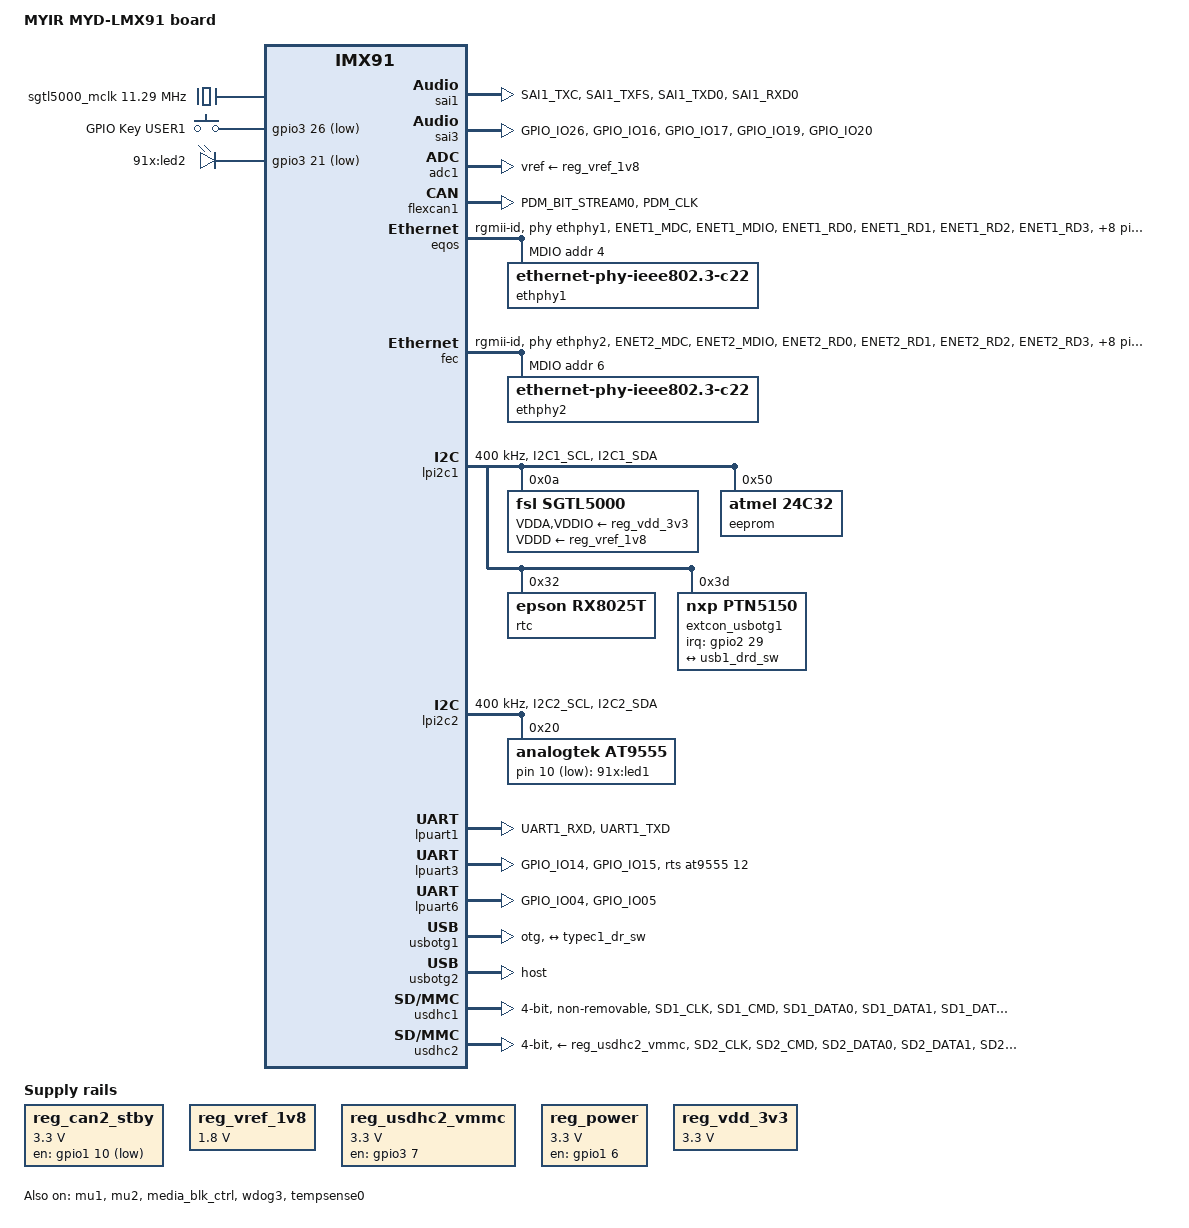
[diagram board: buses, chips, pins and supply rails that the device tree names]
// SPDX-License-Identifier: (GPL-2.0+ OR MIT)
/*
 * Copyright 2024 NXP
 */

/dts-v1/;

#include <dt-bindings/usb/pd.h>
#include "mys-imx91-11x11.dtsi"

&ele_fw2 {
	memory-region = <&ele_reserved>;
};

/ {
	model = "MYIR MYD-LMX91 board";
	compatible = "fsl,imx91-11x11-evk", "fsl,imx91";

	chosen {
		stdout-path = &lpuart1;
	};

	reserved-memory {
		#address-cells = <2>;
		#size-cells = <2>;
		ranges;

		linux,cma {
			compatible = "shared-dma-pool";
			reusable;
			alloc-ranges = <0 0x80000000 0 0x20000000>;
			size = <0 0x2000000>;
			linux,cma-default;
		};

		ele_reserved: ele-reserved@84120000 {
			compatible = "shared-dma-pool";
			reg = <0 0x84120000 0 0x100000>;
			no-map;
		};
	};

	reg_can2_stby: regulator-can2-stby {
		compatible = "regulator-fixed";
		regulator-name = "can2-stby";
		regulator-min-microvolt = <3300000>;
		regulator-max-microvolt = <3300000>;
		gpio = <&gpio1 10 GPIO_ACTIVE_LOW>;
		enable-active-low;
	};

	reg_vref_1v8: regulator-adc-vref {
		compatible = "regulator-fixed";
		regulator-name = "vref_1v8";
		regulator-min-microvolt = <1800000>;
		regulator-max-microvolt = <1800000>;
	};

	reg_usdhc2_vmmc: regulator-usdhc2 {
		compatible = "regulator-fixed";
		pinctrl-names = "default";
		pinctrl-0 = <&pinctrl_reg_usdhc2_vmmc>;
		regulator-name = "VSD_3V3";
		regulator-min-microvolt = <3300000>;
		regulator-max-microvolt = <3300000>;
		gpio = <&gpio3 7 GPIO_ACTIVE_HIGH>;
		off-on-delay-us = <12000>;
		enable-active-high;
	};

	reg_power: regulator-power{
		compatible = "regulator-fixed";
		pinctrl-names = "default";
		pinctrl-0 = <&pinctrl_power>;
		regulator-name = "UART2_RXD_3V3";
		regulator-min-microvolt = <3300000>;
		regulator-max-microvolt = <3300000>;
		gpio = <&gpio1 6 GPIO_ACTIVE_HIGH>;
		off-on-delay-us = <12000>;
		enable-active-high;
		regulator-boot-on;
    	regulator-always-on;
	};

	reg_vdd_3v3: regulator-vdd {
		compatible = "regulator-fixed";
		regulator-name = "VDD_3V3";
		regulator-min-microvolt = <3300000>;
		regulator-max-microvolt = <3300000>;
		startup-delay-us = <4000>;
		enable-active-high;
	};

	// reg_vrpi_3v3: regulator-vrpi-3v3 {
	// 	compatible = "regulator-fixed";
	// 	regulator-name = "VRPI_3V3";
	// 	gpio = <&pcal6524 2 GPIO_ACTIVE_HIGH>;
	// 	regulator-min-microvolt = <3300000>;
	// 	regulator-max-microvolt = <3300000>;
	// 	enable-active-high;
	// 	vin-supply = <&buck4>;
	// };

	// reg_vrpi_5v: regulator-vrpi-5v {
	// 	compatible = "regulator-fixed";
	// 	regulator-name = "VRPI_5V";
	// 	gpio = <&pcal6524 8 GPIO_ACTIVE_HIGH>;
	// 	regulator-min-microvolt = <5000000>;
	// 	regulator-max-microvolt = <5000000>;
	// 	enable-active-high;
	// };

	sgtl5000_mclk: sgtl5000-mclk {
		compatible = "fixed-clock";
		#clock-cells = <0>;
		clock-frequency = <11289600>;
	};


	reg_vdd_3v3: regulator-vdd {
		compatible = "regulator-fixed";
		regulator-name = "VDD_3V3";
		regulator-min-microvolt = <3300000>;
		regulator-max-microvolt = <3300000>;
		startup-delay-us = <4000>;
		enable-active-high;
	};

	reg_vref_1v8: regulator-adc-vref {
		compatible = "regulator-fixed";
		regulator-name = "vref_1v8";
		regulator-min-microvolt = <1800000>;
		regulator-max-microvolt = <1800000>;
	};






	 gpio-keys {
                compatible = "gpio-keys";
                autorepeat;
                pinctrl-names = "default";
                pinctrl-0 = <&pinctrl_key>;

                user: user {
                        label = "GPIO Key USER1";
                        linux,code = <BTN_0>;
                        gpios = <&gpio3 26 GPIO_ACTIVE_LOW>;
                };

        };

	leds {
		compatible = "gpio-leds";

		led-user {
			label = "91x:led1";
			gpios = <&at9555 10 GPIO_ACTIVE_LOW>;
			max-brightness = <255>;
			linux,default-trigger = "heartbeat";
		};

		led-sys {
			label = "91x:led2";
			pinctrl-names = "default";
			pinctrl-1 = <&pinctrl_sysled>;
			gpios = <&gpio3 21 GPIO_ACTIVE_LOW>;
			linux,default-trigger = "heartbeat";
		};
	};


	// sound-wm8962 {
	// 	compatible = "fsl,imx-audio-wm8962";
	// 	model = "wm8962-audio";
	// 	audio-cpu = <&sai3>;
	// 	audio-codec = <&codec>;
	// 	hp-det-gpio = <&pcal6524 4 GPIO_ACTIVE_HIGH>;
	// 	audio-routing =
	// 		"Headphone Jack", "HPOUTL",
	// 		"Headphone Jack", "HPOUTR",
	// 		"Ext Spk", "SPKOUTL",
	// 		"Ext Spk", "SPKOUTR",
	// 		"AMIC", "MICBIAS",
	// 		"IN3R", "AMIC",
	// 		"IN1R", "AMIC";
	// };

	// sound-micfil {
	// 	compatible = "fsl,imx-audio-card";
	// 	model = "micfil-audio";
	// 	pri-dai-link {
	// 		link-name = "micfil hifi";
	// 		format = "i2s";
	// 		cpu {
	// 			sound-dai = <&micfil>;
	// 		};
	// 	};
	// };

	// bt_sco_codec: bt_sco_codec {
	// 	#sound-dai-cells = <1>;
	// 	compatible = "linux,bt-sco";
	// };

	// sound-bt-sco {
	// 	compatible = "simple-audio-card";
	// 	simple-audio-card,name = "bt-sco-audio";
	// 	simple-audio-card,format = "dsp_a";
	// 	simple-audio-card,bitclock-inversion;
	// 	simple-audio-card,frame-master = <&btcpu>;
	// 	simple-audio-card,bitclock-master = <&btcpu>;

	// 	btcpu: simple-audio-card,cpu {
	// 		sound-dai = <&sai1>;
	// 		dai-tdm-slot-num = <2>;
	// 		dai-tdm-slot-width = <16>;
	// 	};

	// 	simple-audio-card,codec {
	// 		sound-dai = <&bt_sco_codec 1>;
	// 	};
	// };

	// sound-xcvr {
	// 	compatible = "fsl,imx-audio-card";
	// 	model = "imx-audio-xcvr";
	// 	pri-dai-link {
	// 		link-name = "XCVR PCM";
	// 		cpu {
	// 			sound-dai = <&xcvr>;
	// 		};
	// 	};
	// };

	sound {
		compatible = "simple-audio-card";
		simple-audio-card,name = "SGTL5000-Card";
		simple-audio-card,format = "i2s";
		simple-audio-card,bitclock-master = <&codec_dai>;
		simple-audio-card,frame-master = <&codec_dai>;
		simple-audio-card,widgets = "Headphone", "Headphone Jack";
		simple-audio-card,routing = "Headphone Jack", "HP_OUT";

		cpu_dai: simple-audio-card,cpu {
			sound-dai = <&sai1>;
		};
			codec_dai: simple-audio-card,codec {
			sound-dai = <&sgtl5000>;
			clocks = <&sgtl5000_mclk>;

 			};
 	};
 	
};

&sai1 {
	#sound-dai-cells = <0>;
	pinctrl-names = "default", "sleep";
	pinctrl-0 = <&pinctrl_sai1>;
	pinctrl-1 = <&pinctrl_sai1_sleep>;
	assigned-clocks = <&clk IMX91_CLK_SAI1>;
	assigned-clock-parents = <&clk IMX91_CLK_AUDIO_PLL>;
	assigned-clock-rates = <12288000>;
	fsl,sai-mclk-direction-output;
	status = "okay";
};

&sai3 {
	pinctrl-names = "default", "sleep";
	pinctrl-0 = <&pinctrl_sai3>;
	pinctrl-1 = <&pinctrl_sai3_sleep>;
	assigned-clocks = <&clk IMX91_CLK_SAI3>;
	assigned-clock-parents = <&clk IMX91_CLK_AUDIO_PLL>;
	assigned-clock-rates = <12288000>;
	fsl,sai-mclk-direction-output;
	status = "okay";
};

&micfil {
	#sound-dai-cells = <0>;
	pinctrl-names = "default", "sleep";
	pinctrl-0 = <&pinctrl_pdm>;
	pinctrl-1 = <&pinctrl_pdm_sleep>;
	assigned-clocks = <&clk IMX91_CLK_PDM>;
	assigned-clock-parents = <&clk IMX91_CLK_AUDIO_PLL>;
	assigned-clock-rates = <49152000>;
	status = "disabled";
};

// &xcvr {
// 	#sound-dai-cells = <0>;
// 	pinctrl-names = "default", "sleep";
// 	pinctrl-0 = <&pinctrl_spdif>;
// 	pinctrl-1 = <&pinctrl_spdif_sleep>;
// 	clocks = <&clk IMX91_CLK_BUS_WAKEUP>,
// 		<&clk IMX91_CLK_SPDIF_GATE>,
// 		<&clk IMX91_CLK_DUMMY>,
// 		<&clk IMX91_CLK_AUD_XCVR_GATE>,
// 		<&clk IMX91_CLK_AUDIO_PLL>;
// 	clock-names = "ipg", "phy", "spba", "pll_ipg", "pll8k";
// 	assigned-clocks = <&clk IMX91_CLK_SPDIF>,
// 			 <&clk IMX91_CLK_AUDIO_XCVR>;
// 	assigned-clock-parents = <&clk IMX91_CLK_AUDIO_PLL>,
// 			 <&clk IMX91_CLK_SYS_PLL_PFD1_DIV2>;
// 	assigned-clock-rates = <12288000>, <200000000>;
// 	status = "okay";
// };

&adc1 {
	vref-supply = <&reg_vref_1v8>;
	status = "okay";
};

&flexcan1 {
	pinctrl-names = "default", "sleep";
	pinctrl-0 = <&pinctrl_flexcan1>;

	// xceiver-supply = <&reg_can2_stby>;
	status = "okay";
};

&mu1 {
	status = "okay";
};

&mu2 {
	status = "okay";
};




&eqos {
	pinctrl-names = "default";
	pinctrl-0 = <&pinctrl_eqos>;
	// pinctrl-1 = <&pinctrl_eqos_sleep>;
	phy-mode = "rgmii-id";
	phy-handle = <&ethphy1>;
	status = "okay";

	mdio {
		compatible = "snps,dwmac-mdio";
		#address-cells = <1>;
		#size-cells = <0>;
		clock-frequency = <5000000>;

		ethphy1: ethernet-phy@4 {
			compatible = "ethernet-phy-ieee802.3-c22";
			reg = <4>;
		
		};
	};
};


&fec {
	pinctrl-names = "default", "sleep";
	pinctrl-0 = <&pinctrl_fec>;
	// pinctrl-1 = <&pinctrl_fec_sleep>;
	phy-mode = "rgmii-id";
	phy-handle = <&ethphy2>;
	fsl,magic-packet;
	status = "okay";

	mdio {
		compatible = "snps,dwmac-mdio";
		#address-cells = <1>;
		#size-cells = <0>;
		clock-frequency = <5000000>;

		ethphy2: ethernet-phy@2 {
			compatible = "ethernet-phy-ieee802.3-c22";
			reg = <6>;
			eee-broken-1000t;
		};
	};
};

/*
 * When add, delete or change any target device setting in &lpi2c1,
 * please synchronize the changes to the &i3c1 bus in imx91-11x11-evk-i3c.dts.
 */
&lpi2c1 {
	#address-cells = <1>;
	#size-cells = <0>;
	clock-frequency = <400000>;
	pinctrl-names = "default", "sleep";
	pinctrl-0 = <&pinctrl_lpi2c1>;
	pinctrl-1 = <&pinctrl_lpi2c1>;
	status = "okay";

	sgtl5000: audio-codec@a {
		compatible = "fsl,sgtl5000";
		reg = <0xa>;
		#sound-dai-cells = <0>;
		clocks = <&sgtl5000_mclk>;
		VDDA-supply = <&reg_vdd_3v3>;
		VDDIO-supply = <&reg_vdd_3v3>;
		VDDD-supply = <&reg_vref_1v8>;
	};

	eeprom: 24c32@50 {
		compatible = "atmel,24c32";
		reg = <0x50>;
		pagesize = <32>;
	};
	
	rtc: rtc@32 {
		compatible = "epson,rx8025t";
		reg = <0x32>;
		tatus = "okay";
    };

		extcon_usbotg1: typec@3d {
                compatible = "nxp,ptn5150";
                reg = <0x3d>;
                interrupt-parent = <&gpio2>;
                interrupts = <29 IRQ_TYPE_LEVEL_LOW>;
                pinctrl-names = "default";
                pinctrl-0 = <&pinctrl_tyint>;
                status = "okay";

		port {
			typec1_dr_sw: endpoint {
				remote-endpoint = <&usb1_drd_sw>;
			};
		};

	


	typec1_con: connector {
			compatible = "usb-c-connector";
			label = "USB-C";
			power-role = "dual";
			data-role = "dual";
			try-power-role = "sink";
			source-pdos = <PDO_FIXED(5000, 3000, PDO_FIXED_USB_COMM)>;
			sink-pdos = <PDO_FIXED(5000, 3000, PDO_FIXED_USB_COMM)
				     PDO_VAR(5000, 20000, 3000)>;
			op-sink-microwatt = <15000000>;
			self-powered;
		};
    };

	// codec: wm8962@1a {
	// 	compatible = "wlf,wm8962";
	// 	reg = <0x1a>;
	// 	clocks = <&clk IMX91_CLK_SAI3_GATE>;
	// 	DCVDD-supply = <&reg_audio_pwr>;
	// 	DBVDD-supply = <&reg_audio_pwr>;
	// 	AVDD-supply = <&reg_audio_pwr>;
	// 	CPVDD-supply = <&reg_audio_pwr>;
	// 	MICVDD-supply = <&reg_audio_pwr>;
	// 	PLLVDD-supply = <&reg_audio_pwr>;
	// 	SPKVDD1-supply = <&reg_audio_pwr>;
	// 	SPKVDD2-supply = <&reg_audio_pwr>;
	// 	gpio-cfg = <
	// 		0x0000 /* 0:Default */
	// 		0x0000 /* 1:Default */
	// 		0x0000 /* 2:FN_DMICCLK */
	// 		0x0000 /* 3:Default */
	// 		0x0000 /* 4:FN_DMICCDAT */
	// 		0x0000 /* 5:Default */
	// 	>;
	// };

	// lsm6dsm@6a {
	// 	compatible = "st,lsm6dso";
	// 	reg = <0x6a>;
	// };
};

&lpi2c2 {
	#address-cells = <1>;
	#size-cells = <0>;
	clock-frequency = <400000>;
	pinctrl-names = "default", "sleep";
	pinctrl-0 = <&pinctrl_lpi2c2>;
	pinctrl-1 = <&pinctrl_lpi2c2>;
	status = "okay";

	at9555: at9555@20 {
		compatible = "analogtek,at9555";
		reg = <0x20>;
		#gpio-cells = <2>;
		gpio_base = <130>;
		interrupt-controller;
		#interrupt-cells = <2>;
		status = "okay";
	};

	

		

};



&lpuart1 { /* console */
	pinctrl-names = "default";
	pinctrl-0 = <&pinctrl_uart1>;
	status = "okay";
};

&lpuart3 { /* 485 */
	pinctrl-names = "default";
	pinctrl-0 = <&pinctrl_uart3>;
    rts-gpios = <&at9555 12 GPIO_ACTIVE_HIGH>;
	rs485-rx-during-tx;
	linux,rs485-enabled-at-boot-time;
	status = "okay";
};

&lpuart6 { /* 232 */
	pinctrl-names = "default";
	pinctrl-0 = <&pinctrl_uart6>;
	status = "okay";
};

&media_blk_ctrl {
	status = "okay";
};

&usbotg1 {
	dr_mode = "otg";
	hnp-disable;
	srp-disable;
	adp-disable;
	usb-role-switch;
	disable-over-current;
	samsung,picophy-pre-emp-curr-control = <3>;
	samsung,picophy-dc-vol-level-adjust = <7>;
	status = "okay";

	port {
		usb1_drd_sw: endpoint {
			remote-endpoint = <&typec1_dr_sw>;
		};
	};
};

&usbotg2 {
	dr_mode = "host";

	disable-over-current;
	status = "okay";
};

&usdhc1 {
	pinctrl-names = "default", "state_100mhz", "state_200mhz";
	pinctrl-0 = <&pinctrl_usdhc1>;
	pinctrl-1 = <&pinctrl_usdhc1_100mhz>;
	pinctrl-2 = <&pinctrl_usdhc1_200mhz>;
	bus-width = <4>;
	keep-power-in-suspend;
	non-removable;
	wakeup-source;
	status = "okay";


};

&usdhc2 {
	pinctrl-names = "default", "state_100mhz", "state_200mhz", "sleep";
	pinctrl-0 = <&pinctrl_usdhc2>, <&pinctrl_usdhc2_gpio>;
	pinctrl-1 = <&pinctrl_usdhc2_100mhz>, <&pinctrl_usdhc2_gpio>;
	pinctrl-2 = <&pinctrl_usdhc2_200mhz>, <&pinctrl_usdhc2_gpio>;
	pinctrl-3 = <&pinctrl_usdhc2_sleep>, <&pinctrl_usdhc2_gpio_sleep>;
	cd-gpios = <&gpio3 00 GPIO_ACTIVE_LOW>;
	fsl,cd-gpio-wakeup-disable;
	vmmc-supply = <&reg_usdhc2_vmmc>;
	bus-width = <4>;
	status = "okay";
	no-sdio;
	no-mmc;
};





&wdog3 {
	status = "okay";
};

&tempsense0 {
	status = "okay";
};

&iomuxc {

	pinctrl_tyint: typecint {
                fsl,pins = <
                MX91_PAD_GPIO_IO29__GPIO2_IO29             0x0000051E
                >;
        };

	pinctrl_EEP: EEP {
		fsl,pins = <
			MX91_PAD_CCM_CLKO4__GPIO4_IO29             0x0000051E
		>;
	};

	pinctrl_key: key {
		fsl,pins = <
			MX91_PAD_CCM_CLKO1__GPIO3_IO26             0x0000011E
		>;
	};

	pinctrl_sysled: pinctrlsysled {
		fsl,pins = <
                MX91_PAD_SD3_CMD__GPIO3_IO21               0x0000051E
			>;
    };

	pinctrl_power: power {
		fsl,pins = <
	        MX91_PAD_UART2_RXD__GPIO1_IO6              0x0000051E
		>;
	};

	pinctrl_eqos: eqosgrp {
		fsl,pins = <
			MX91_PAD_ENET1_MDC__ENET1_MDC			0x57e
			MX91_PAD_ENET1_MDIO__ENET_QOS_MDIO			0x57e
			MX91_PAD_ENET1_RD0__ENET_QOS_RGMII_RD0			0x57e
			MX91_PAD_ENET1_RD1__ENET_QOS_RGMII_RD1			0x57e
			MX91_PAD_ENET1_RD2__ENET_QOS_RGMII_RD2			0x57e
			MX91_PAD_ENET1_RD3__ENET_QOS_RGMII_RD3			0x57e
			MX91_PAD_ENET1_RXC__ENET_QOS_RGMII_RXC	0x5fe
			MX91_PAD_ENET1_RX_CTL__ENET_QOS_RGMII_RX_CTL		0x57e
			MX91_PAD_ENET1_TD0__ENET_QOS_RGMII_TD0			0x57e
			MX91_PAD_ENET1_TD1__ENET1_RGMII_TD1			0x57e
			MX91_PAD_ENET1_TD2__ENET_QOS_RGMII_TD2			0x57e
			MX91_PAD_ENET1_TD3__ENET_QOS_RGMII_TD3			0x57e
			MX91_PAD_ENET1_TXC__CCM_ENET_QOS_CLOCK_GENERATE_TX_CLK	0x5fe
			MX91_PAD_ENET1_TX_CTL__ENET_QOS_RGMII_TX_CTL		0x57e
		>;
	};

	// pinctrl_eqos_sleep: eqosgrpsleep {
	// 	fsl,pins = <
	// 		MX91_PAD_ENET1_MDC__GPIO4_IO0				0x31e
	// 		MX91_PAD_ENET1_MDIO__GPIO4_IO1				0x31e
	// 		MX91_PAD_ENET1_RD0__GPIO4_IO10                          0x31e
	// 		MX91_PAD_ENET1_RD1__GPIO4_IO11				0x31e
	// 		MX91_PAD_ENET1_RD2__GPIO4_IO12				0x31e
	// 		MX91_PAD_ENET1_RD3__GPIO4_IO13				0x31e
	// 		MX91_PAD_ENET1_RXC__GPIO4_IO9                          0x31e
	// 		MX91_PAD_ENET1_RX_CTL__GPIO4_IO8			0x31e
	// 		MX91_PAD_ENET1_TD0__GPIO4_IO5                          0x31e
	// 		MX91_PAD_ENET1_TD1__GPIO4_IO4                          0x31e
	// 		MX91_PAD_ENET1_TD2__GPIO4_IO3				0x31e
	// 		MX91_PAD_ENET1_TD3__GPIO4_IO3				0x31e
	// 		MX91_PAD_ENET1_TXC__GPIO4_IO7                          0x31e
	// 		MX91_PAD_ENET1_TX_CTL__GPIO4_IO6                       0x31e
	// 	>;
	// };

	pinctrl_fec: fecgrp {
		fsl,pins = <
			MX91_PAD_ENET2_MDC__ENET2_MDC			0x57e
			MX91_PAD_ENET2_MDIO__ENET2_MDIO			0x57e
			MX91_PAD_ENET2_RD0__ENET2_RGMII_RD0		0x57e
			MX91_PAD_ENET2_RD1__ENET2_RGMII_RD1		0x57e
			MX91_PAD_ENET2_RD2__ENET2_RGMII_RD2		0x57e
			MX91_PAD_ENET2_RD3__ENET2_RGMII_RD3		0x57e
			MX91_PAD_ENET2_RXC__ENET2_RGMII_RXC		0x5fe
			MX91_PAD_ENET2_RX_CTL__ENET2_RGMII_RX_CTL	0x57e
			MX91_PAD_ENET2_TD0__ENET2_RGMII_TD0		0x57e
			MX91_PAD_ENET2_TD1__ENET2_RGMII_TD1		0x57e
			MX91_PAD_ENET2_TD2__ENET2_RGMII_TD2		0x57e
			MX91_PAD_ENET2_TD3__ENET2_RGMII_TD3		0x57e
			MX91_PAD_ENET2_TXC__ENET2_RGMII_TXC		0x5fe
			MX91_PAD_ENET2_TX_CTL__ENET2_RGMII_TX_CTL	0x57e
		>;
	};

	// pinctrl_fec_sleep: fecsleepgrp {
	// 	fsl,pins = <
	// 		MX91_PAD_ENET2_MDC__GPIO4_IO14			0x51e
	// 		MX91_PAD_ENET2_MDIO__GPIO4_IO15			0x51e
	// 		MX91_PAD_ENET2_RD0__GPIO4_IO24			0x51e
	// 		MX91_PAD_ENET2_RD1__GPIO4_IO25			0x51e
	// 		MX91_PAD_ENET2_RD2__GPIO4_IO26			0x51e
	// 		MX91_PAD_ENET2_RD3__GPIO4_IO27			0x51e
	// 		MX91_PAD_ENET2_RXC__GPIO4_IO23                  0x51e
	// 		MX91_PAD_ENET2_RX_CTL__GPIO4_IO22		0x51e
	// 		MX91_PAD_ENET2_TD0__GPIO4_IO19			0x51e
	// 		MX91_PAD_ENET2_TD1__GPIO4_IO18			0x51e
	// 		MX91_PAD_ENET2_TD2__GPIO4_IO17			0x51e
	// 		MX91_PAD_ENET2_TD3__GPIO4_IO16			0x51e
	// 		MX91_PAD_ENET2_TXC__GPIO4_IO21                  0x51e
	// 		MX91_PAD_ENET2_TX_CTL__GPIO4_IO20               0x51e
	// 	>;
	// };

	pinctrl_flexcan1: flexcan1grp {
		fsl,pins = <
                MX91_PAD_PDM_BIT_STREAM0__CAN1_RX          0x0000051E
                MX91_PAD_PDM_CLK__CAN1_TX                  0x0000051E
		>;
	};




	pinctrl_lpi2c1: lpi2c1grp {
		fsl,pins = <
			MX91_PAD_I2C1_SCL__LPI2C1_SCL			0x40000b9e
			MX91_PAD_I2C1_SDA__LPI2C1_SDA			0x40000b9e
		>;
	};

	pinctrl_lpi2c2: lpi2c2grp {
		fsl,pins = <
			MX91_PAD_I2C2_SCL__LPI2C2_SCL			0x40000b9e
			MX91_PAD_I2C2_SDA__LPI2C2_SDA			0x40000b9e
		>;
	};





	pinctrl_uart1: uart1grp {
		fsl,pins = <
			MX91_PAD_UART1_RXD__LPUART1_RX			0x31e
			MX91_PAD_UART1_TXD__LPUART1_TX			0x31e
		>;
	};

	pinctrl_uart5: uart5grp {
		fsl,pins = <
			MX91_PAD_DAP_TDO_TRACESWO__LPUART5_TX	0x31e
			MX91_PAD_DAP_TDI__LPUART5_RX		0x31e
			MX91_PAD_DAP_TMS_SWDIO__LPUART5_RTS_B	0x31e
			MX91_PAD_DAP_TCLK_SWCLK__LPUART5_CTS_B	0x31e
		>;
	};

    pinctrl_uart3: pinctrluart3 {
        fsl,pins = <
            MX91_PAD_GPIO_IO14__LPUART3_TX             0x0000051E
            MX91_PAD_GPIO_IO15__LPUART3_RX             0x0000051E
        >;
     };


	pinctrl_uart6: pinctrluart6 {
        fsl,pins = <
            MX91_PAD_GPIO_IO04__LPUART6_TX             0x0000051E
            MX91_PAD_GPIO_IO05__LPUART6_RX             0x0000051E
        >;
     };

	pinctrl_usdhc1: usdhc1grp {
		fsl,pins = <
			MX91_PAD_SD1_CLK__USDHC1_CLK		0x1582
			MX91_PAD_SD1_CMD__USDHC1_CMD		0x1382
			MX91_PAD_SD1_DATA0__USDHC1_DATA0	0x1382
			MX91_PAD_SD1_DATA1__USDHC1_DATA1	0x1382
			MX91_PAD_SD1_DATA2__USDHC1_DATA2	0x1382
			MX91_PAD_SD1_DATA3__USDHC1_DATA3	0x1382

		>;
	};

	pinctrl_usdhc1_100mhz: usdhc1-100mhzgrp {
		fsl,pins = <
			MX91_PAD_SD1_CLK__USDHC1_CLK		0x158e
			MX91_PAD_SD1_CMD__USDHC1_CMD		0x138e
			MX91_PAD_SD1_DATA0__USDHC1_DATA0	0x138e
			MX91_PAD_SD1_DATA1__USDHC1_DATA1	0x138e
			MX91_PAD_SD1_DATA2__USDHC1_DATA2	0x138e
			MX91_PAD_SD1_DATA3__USDHC1_DATA3	0x138e

		>;
	};

	pinctrl_usdhc1_200mhz: usdhc1-200mhzgrp {
		fsl,pins = <
			MX91_PAD_SD1_CLK__USDHC1_CLK		0x15fe
			MX91_PAD_SD1_CMD__USDHC1_CMD		0x13fe
			MX91_PAD_SD1_DATA0__USDHC1_DATA0	0x13fe
			MX91_PAD_SD1_DATA1__USDHC1_DATA1	0x13fe
			MX91_PAD_SD1_DATA2__USDHC1_DATA2	0x13fe
			MX91_PAD_SD1_DATA3__USDHC1_DATA3	0x13fe

		>;
	};

	pinctrl_reg_usdhc2_vmmc: regusdhc2vmmcgrp {
		fsl,pins = <
			MX91_PAD_SD2_RESET_B__GPIO3_IO7	0x31e
		>;
	};

	pinctrl_usdhc2_gpio: usdhc2gpiogrp {
		fsl,pins = <
			MX91_PAD_SD2_CD_B__GPIO3_IO0		0x31e
		>;
	};

	pinctrl_usdhc2_gpio_sleep: usdhc2gpiogrpsleep {
		fsl,pins = <
			MX91_PAD_SD2_CD_B__GPIO3_IO0		0x51e
		>;
	};

	pinctrl_usdhc2: usdhc2grp {
		fsl,pins = <
			MX91_PAD_SD2_CLK__USDHC2_CLK		0x1582
			MX91_PAD_SD2_CMD__USDHC2_CMD		0x1382
			MX91_PAD_SD2_DATA0__USDHC2_DATA0	0x1382
			MX91_PAD_SD2_DATA1__USDHC2_DATA1	0x1382
			MX91_PAD_SD2_DATA2__USDHC2_DATA2	0x1382
			MX91_PAD_SD2_DATA3__USDHC2_DATA3	0x1382
			MX91_PAD_SD2_VSELECT__USDHC2_VSELECT	0x51e
		>;
	};

	pinctrl_usdhc2_100mhz: usdhc2-100mhzgrp {
		fsl,pins = <
			MX91_PAD_SD2_CLK__USDHC2_CLK		0x158e
			MX91_PAD_SD2_CMD__USDHC2_CMD		0x138e
			MX91_PAD_SD2_DATA0__USDHC2_DATA0	0x138e
			MX91_PAD_SD2_DATA1__USDHC2_DATA1	0x138e
			MX91_PAD_SD2_DATA2__USDHC2_DATA2	0x138e
			MX91_PAD_SD2_DATA3__USDHC2_DATA3	0x138e
			MX91_PAD_SD2_VSELECT__USDHC2_VSELECT	0x51e
		>;
	};

	pinctrl_usdhc2_200mhz: usdhc2-200mhzgrp {
		fsl,pins = <
			MX91_PAD_SD2_CLK__USDHC2_CLK		0x15fe
			MX91_PAD_SD2_CMD__USDHC2_CMD		0x13fe
			MX91_PAD_SD2_DATA0__USDHC2_DATA0	0x13fe
			MX91_PAD_SD2_DATA1__USDHC2_DATA1	0x13fe
			MX91_PAD_SD2_DATA2__USDHC2_DATA2	0x13fe
			MX91_PAD_SD2_DATA3__USDHC2_DATA3	0x13fe
			MX91_PAD_SD2_VSELECT__USDHC2_VSELECT	0x51e
		>;
	};

	pinctrl_usdhc2_sleep: usdhc2grpsleep {
		fsl,pins = <
			MX91_PAD_SD2_CLK__GPIO3_IO1            0x51e
			MX91_PAD_SD2_CMD__GPIO3_IO2		0x51e
			MX91_PAD_SD2_DATA0__GPIO3_IO3		0x51e
			MX91_PAD_SD2_DATA1__GPIO3_IO4		0x51e
			MX91_PAD_SD2_DATA2__GPIO3_IO5		0x51e
			MX91_PAD_SD2_DATA3__GPIO3_IO6		0x51e
			MX91_PAD_SD2_VSELECT__GPIO3_IO19	0x51e
		>;
	};

	pinctrl_usdhc3: usdhc3grp {
		fsl,pins = <
			MX91_PAD_SD3_CLK__USDHC3_CLK		0x1582
			MX91_PAD_SD3_CMD__USDHC3_CMD		0x1382
			MX91_PAD_SD3_DATA0__USDHC3_DATA0	0x1382
			MX91_PAD_SD3_DATA1__USDHC3_DATA1	0x1382
			MX91_PAD_SD3_DATA2__USDHC3_DATA2	0x1382
			MX91_PAD_SD3_DATA3__USDHC3_DATA3	0x1382
		>;
	};

	pinctrl_usdhc3_100mhz: usdhc3-100mhzgrp {
		fsl,pins = <
			MX91_PAD_SD3_CLK__USDHC3_CLK		0x158e
			MX91_PAD_SD3_CMD__USDHC3_CMD		0x138e
			MX91_PAD_SD3_DATA0__USDHC3_DATA0	0x138e
			MX91_PAD_SD3_DATA1__USDHC3_DATA1	0x138e
			MX91_PAD_SD3_DATA2__USDHC3_DATA2	0x138e
			MX91_PAD_SD3_DATA3__USDHC3_DATA3	0x138e
		>;
	};

	pinctrl_usdhc3_200mhz: usdhc3-200mhzgrp {
		fsl,pins = <
			MX91_PAD_SD3_CLK__USDHC3_CLK		0x15fe
			MX91_PAD_SD3_CMD__USDHC3_CMD		0x13fe
			MX91_PAD_SD3_DATA0__USDHC3_DATA0	0x13fe
			MX91_PAD_SD3_DATA1__USDHC3_DATA1	0x13fe
			MX91_PAD_SD3_DATA2__USDHC3_DATA2	0x13fe
			MX91_PAD_SD3_DATA3__USDHC3_DATA3	0x13fe
		>;
	};

	pinctrl_usdhc3_sleep: usdhc3grpsleep {
		fsl,pins = <
			MX91_PAD_SD3_CLK__GPIO3_IO20		0x31e
			MX91_PAD_SD3_CMD__GPIO3_IO21		0x31e
			MX91_PAD_SD3_DATA0__GPIO3_IO22		0x31e
			MX91_PAD_SD3_DATA1__GPIO3_IO23		0x31e
			MX91_PAD_SD3_DATA2__GPIO3_IO24		0x31e
			MX91_PAD_SD3_DATA3__GPIO3_IO25		0x31e
		>;
	};


	pinctrl_sai1: sai1grp {
		fsl,pins = <
			MX91_PAD_SAI1_TXC__SAI1_TX_BCLK			0x31e
			MX91_PAD_SAI1_TXFS__SAI1_TX_SYNC		0x31e
			MX91_PAD_SAI1_TXD0__SAI1_TX_DATA0		0x31e
			MX91_PAD_SAI1_RXD0__SAI1_RX_DATA0		0x31e
		>;
	};

	pinctrl_sai1_sleep: sai1grpsleep {
		fsl,pins = <
			MX91_PAD_SAI1_TXC__GPIO1_IO12                   0x51e
			MX91_PAD_SAI1_TXFS__GPIO1_IO11			0x51e
			MX91_PAD_SAI1_TXD0__GPIO1_IO13			0x51e
			MX91_PAD_SAI1_RXD0__GPIO1_IO14			0x51e
		>;
	};

	pinctrl_sai3: sai3grp {
		fsl,pins = <
			MX91_PAD_GPIO_IO26__SAI3_TX_SYNC		0x31e
			MX91_PAD_GPIO_IO16__SAI3_TX_BCLK		0x31e
			MX91_PAD_GPIO_IO17__SAI3_MCLK			0x31e
			MX91_PAD_GPIO_IO19__SAI3_TX_DATA0		0x31e
			MX91_PAD_GPIO_IO20__SAI3_RX_DATA0		0x31e
		>;
	};

	pinctrl_sai3_sleep: sai3grpsleep {
		fsl,pins = <
			MX91_PAD_GPIO_IO26__GPIO2_IO26			0x51e
			MX91_PAD_GPIO_IO16__GPIO2_IO16			0x51e
			MX91_PAD_GPIO_IO17__GPIO2_IO17			0x51e
			MX91_PAD_GPIO_IO19__GPIO2_IO19			0x51e
			MX91_PAD_GPIO_IO20__GPIO2_IO20			0x51e
		>;
	};

	pinctrl_pdm: pdmgrp {
		fsl,pins = <
			MX91_PAD_PDM_CLK__PDM_CLK			0x31e
			MX91_PAD_PDM_BIT_STREAM0__PDM_BIT_STREAM0	0x31e
			MX91_PAD_PDM_BIT_STREAM1__PDM_BIT_STREAM1	0x31e
		>;
	};

	pinctrl_pdm_sleep: pdmgrpsleep {
		fsl,pins = <
			MX91_PAD_PDM_CLK__GPIO1_IO8			0x31e
			MX91_PAD_PDM_BIT_STREAM0__GPIO1_IO9		0x31e
			MX91_PAD_PDM_BIT_STREAM1__GPIO1_IO10		0x31e
		>;
	};

	pinctrl_spdif: spdifgrp {
		fsl,pins = <
			MX91_PAD_GPIO_IO22__SPDIF_IN		0x31e
			MX91_PAD_GPIO_IO23__SPDIF_OUT		0x31e
		>;
	};

	pinctrl_spdif_sleep: spdifgrpsleep {
		fsl,pins = <
			MX91_PAD_GPIO_IO22__GPIO2_IO22		0x31e
			MX91_PAD_GPIO_IO23__GPIO2_IO23		0x31e
		>;
	};
};
